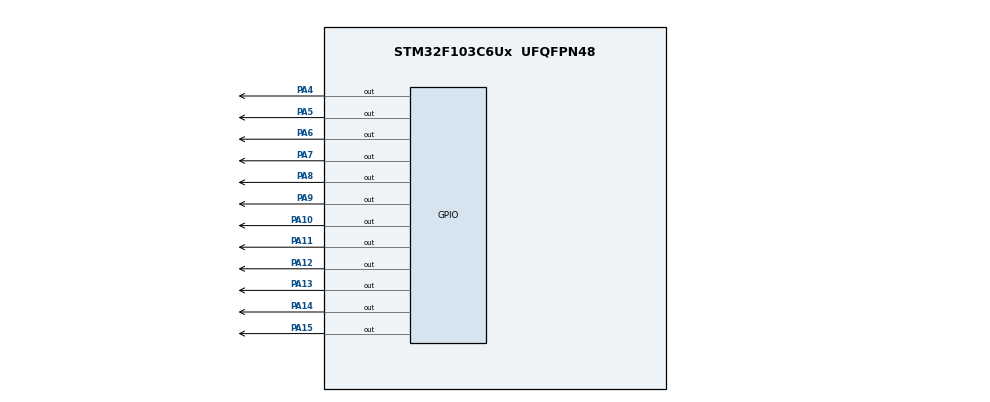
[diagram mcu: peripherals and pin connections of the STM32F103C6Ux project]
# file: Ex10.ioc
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Mcu.Family=STM32F1
Mcu.Name=STM32F103C6Ux
Mcu.Package=UFQFPN48
NVIC.PriorityGroup=NVIC_PRIORITYGROUP_4
PA10.PinState=GPIO_PIN_SET
PA10.Signal=GPIO_Output
PA11.PinState=GPIO_PIN_SET
PA11.Signal=GPIO_Output
PA12.PinState=GPIO_PIN_SET
PA12.Signal=GPIO_Output
PA13.PinState=GPIO_PIN_SET
PA13.Signal=GPIO_Output
PA14.PinState=GPIO_PIN_SET
PA14.Signal=GPIO_Output
PA15.PinState=GPIO_PIN_SET
PA15.Signal=GPIO_Output
PA4.PinState=GPIO_PIN_SET
PA4.Signal=GPIO_Output
PA5.PinState=GPIO_PIN_SET
PA5.Signal=GPIO_Output
PA6.PinState=GPIO_PIN_SET
PA6.Signal=GPIO_Output
PA7.PinState=GPIO_PIN_SET
PA7.Signal=GPIO_Output
PA8.PinState=GPIO_PIN_SET
PA8.Signal=GPIO_Output
PA9.PinState=GPIO_PIN_SET
PA9.Signal=GPIO_Output
ProjectManager.HeapSize=0x200
ProjectManager.StackSize=0x400
ProjectManager.TargetToolchain=STM32CubeIDE
RCC.APB1Freq_Value=8000000
RCC.APB2Freq_Value=8000000
VP_SYS_VS_ND.Mode=No_Debug
board=custom

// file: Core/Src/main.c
/* USER CODE BEGIN Header */
/**
  ******************************************************************************
  * @file           : main.c
  * @brief          : Main program body
  ******************************************************************************
  * @attention
  *
  * <h2><center>&copy; Copyright (c) 2023 STMicroelectronics.
  * All rights reserved.</center></h2>
  *
  * This software component is licensed by ST under BSD 3-Clause license,
  * the "License"; You may not use this file except in compliance with the
  * License. You may obtain a copy of the License at:
  *                        opensource.org/licenses/BSD-3-Clause
  *
  ******************************************************************************
  */
/* USER CODE END Header */
#include "main.h"

void SystemClock_Config(void);
static void MX_GPIO_Init(void);

int main(void)
{

  /* MCU Configuration--------------------------------------------------------*/

  /* Reset of all peripherals, Initializes the Flash interface and the Systick. */
  HAL_Init();

  /* Configure the system clock */
  SystemClock_Config();

  /* Initialize all configured peripherals */
  MX_GPIO_Init();
  /* USER CODE BEGIN 2 */
	#define GPIO_PIN_(i) ((uint16_t)(1 << (i)))
	void clearAllClock() {
	  HAL_GPIO_WritePin(GPIOA, GPIO_PIN_(4), SET);
	  HAL_GPIO_WritePin(GPIOA, GPIO_PIN_(5), SET);
	  HAL_GPIO_WritePin(GPIOA, GPIO_PIN_(6), SET);
	  HAL_GPIO_WritePin(GPIOA, GPIO_PIN_(7), SET);
	  HAL_GPIO_WritePin(GPIOA, GPIO_PIN_(8), SET);
	  HAL_GPIO_WritePin(GPIOA, GPIO_PIN_(9), SET);
	  HAL_GPIO_WritePin(GPIOA, GPIO_PIN_(10), SET);
	  HAL_GPIO_WritePin(GPIOA, GPIO_PIN_(11), SET);
	  HAL_GPIO_WritePin(GPIOA, GPIO_PIN_(12), SET);
	  HAL_GPIO_WritePin(GPIOA, GPIO_PIN_(13), SET);
	  HAL_GPIO_WritePin(GPIOA, GPIO_PIN_(14), SET);
	  HAL_GPIO_WritePin(GPIOA, GPIO_PIN_(15), SET);
	}
	uint8_t sec = 0;
	uint8_t min = 0;
	uint8_t hour = 0;
  /* USER CODE END 2 */

  /* Infinite loop */
  while (1)
  {
	  if (sec == 60) {
		  min++;
		  sec = 0;
	  }
	  if (min == 60) {
		  hour++;
		  sec = 0;
	  }
	  if (hour == 12)
		  hour = 0;
	  clearAllClock();
	  HAL_GPIO_WritePin(GPIOA, GPIO_PIN_(sec / 5 + 4), RESET);
	  HAL_GPIO_WritePin(GPIOA, GPIO_PIN_(min / 5 + 4), RESET);
	  HAL_GPIO_WritePin(GPIOA, GPIO_PIN_(hour + 4), RESET);
	  sec++;
	  HAL_Delay(1000);
  }
}

void SystemClock_Config(void)
{
  RCC_OscInitTypeDef RCC_OscInitStruct = {0};
  RCC_ClkInitTypeDef RCC_ClkInitStruct = {0};

  /** Initializes the RCC Oscillators according to the specified parameters
  * in the RCC_OscInitTypeDef structure.
  */
  RCC_OscInitStruct.OscillatorType = RCC_OSCILLATORTYPE_HSI;
  RCC_OscInitStruct.HSIState = RCC_HSI_ON;
  RCC_OscInitStruct.HSICalibrationValue = RCC_HSICALIBRATION_DEFAULT;
  RCC_OscInitStruct.PLL.PLLState = RCC_PLL_NONE;
  if (HAL_RCC_OscConfig(&RCC_OscInitStruct) != HAL_OK)
  {
    Error_Handler();
  }
  /** Initializes the CPU, AHB and APB buses clocks
  */
  RCC_ClkInitStruct.ClockType = RCC_CLOCKTYPE_HCLK|RCC_CLOCKTYPE_SYSCLK
                              |RCC_CLOCKTYPE_PCLK1|RCC_CLOCKTYPE_PCLK2;
  RCC_ClkInitStruct.SYSCLKSource = RCC_SYSCLKSOURCE_HSI;
  RCC_ClkInitStruct.AHBCLKDivider = RCC_SYSCLK_DIV1;
  RCC_ClkInitStruct.APB1CLKDivider = RCC_HCLK_DIV1;
  RCC_ClkInitStruct.APB2CLKDivider = RCC_HCLK_DIV1;

  if (HAL_RCC_ClockConfig(&RCC_ClkInitStruct, FLASH_LATENCY_0) != HAL_OK)
  {
    Error_Handler();
  }
}

static void MX_GPIO_Init(void)
{
  GPIO_InitTypeDef GPIO_InitStruct = {0};

  /* GPIO Ports Clock Enable */
  __HAL_RCC_GPIOA_CLK_ENABLE();

  /*Configure GPIO pin Output Level */
  HAL_GPIO_WritePin(GPIOA, GPIO_PIN_4|GPIO_PIN_5|GPIO_PIN_6|GPIO_PIN_7
                          |GPIO_PIN_8|GPIO_PIN_9|GPIO_PIN_10|GPIO_PIN_11
                          |GPIO_PIN_12|GPIO_PIN_13|GPIO_PIN_14|GPIO_PIN_15, GPIO_PIN_SET);

  /*Configure GPIO pins : PA4 PA5 PA6 PA7
                           PA8 PA9 PA10 PA11
                           PA12 PA13 PA14 PA15 */
  GPIO_InitStruct.Pin = GPIO_PIN_4|GPIO_PIN_5|GPIO_PIN_6|GPIO_PIN_7
                          |GPIO_PIN_8|GPIO_PIN_9|GPIO_PIN_10|GPIO_PIN_11
                          |GPIO_PIN_12|GPIO_PIN_13|GPIO_PIN_14|GPIO_PIN_15;
  GPIO_InitStruct.Mode = GPIO_MODE_OUTPUT_PP;
  GPIO_InitStruct.Pull = GPIO_NOPULL;
  GPIO_InitStruct.Speed = GPIO_SPEED_FREQ_LOW;
  HAL_GPIO_Init(GPIOA, &GPIO_InitStruct);

}

void Error_Handler(void)
{
  __disable_irq();
  while (1)
  {
  }
}

/************************ (C) COPYRIGHT STMicroelectronics *****END OF FILE****/
